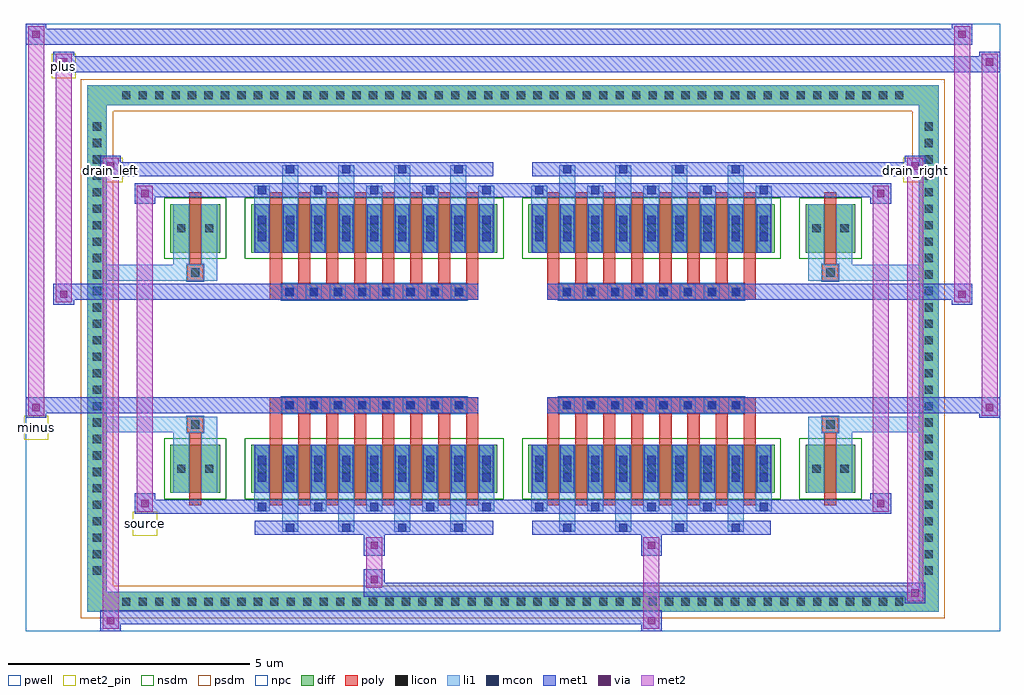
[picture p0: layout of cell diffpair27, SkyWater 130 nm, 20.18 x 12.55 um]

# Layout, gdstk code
import gdstk
lib = gdstk.Library(unit=1e-6, precision=5e-09)
def R(c, l, rs):  # rectangles x0, y0, x1, y1
    for r in rs: c.add(gdstk.rectangle(r[:2], r[2:], *l))
def A(c, l, x, y, w, h, nx, ny, dx, dy):  # array of equal rectangles
    R(c, l, [(x+i*dx, y+j*dy, x+i*dx+w, y+j*dy+h) for i in range(nx) for j in range(ny)])
def P(c, l, *ps):  # polygons
    for p in ps: c.add(gdstk.Polygon(p, *l))
pwell = (64, 44)
diff = (65, 20)
poly = (66, 20)
licon = (66, 44)
li1 = (67, 20)
mcon = (67, 44)
met1 = (68, 20)
via = (68, 44)
met2_pin = (69, 16)
met2 = (69, 20)
nsdm = (93, 44)
psdm = (94, 20)
npc = (95, 20)

diffpair27 = lib.new_cell('diffpair27')
R(diffpair27, pwell, [(-10.07,-5.84,10.07,6.71), (-7.39,-4.03,-0.01,-0.805), (0.01,-4.03,7.39,-0.805), (-7.39,0.805,-0.01,4.03), (0.01,0.805,7.39,4.03)])
A(diffpair27, diff, -8.195, -5.44, 0.41, 0.41, 48, 2, 0.34, 10.47)
A(diffpair27, diff, -8.8, -4.795, 0.41, 0.41, 1, 28, 0, 0.34)
A(diffpair27, diff, 8.39, -4.795, 0.41, 0.41, 1, 28, 0, 0.34)
R(diffpair27, diff, [(-8.195,-5.44,8.195,-5.03), (-8.8,-4.795,-8.39,4.795), (8.39,-4.795,8.8,4.795), (-7.08,-2.985,-6.05,-1.985), (-5.41,-2.985,-0.32,-1.985), (0.32,-2.985,5.41,-1.985), (6.05,-2.985,7.08,-1.985), (-7.08,1.985,-6.05,2.985), (-5.41,1.985,-0.32,2.985), (0.32,1.985,5.41,2.985), (6.05,1.985,7.08,2.985), (-8.195,5.03,8.195,5.44)])
P(diffpair27, diff, [(8.8,5.44),(-8.8,5.44),(-8.8,-5.03),(-8.39,-5.03),(-8.39,5.03),(8.39,5.03),(8.39,-5.03),(-8.39,-5.03),(-8.8,-5.03),(-8.8,-5.44),(8.8,-5.44)])
A(diffpair27, poly, -5.02, -3.235, 0.25, 1.5, 8, 2, 0.58, 4.97)
A(diffpair27, poly, 0.71, -3.235, 0.25, 1.5, 8, 2, 0.58, 4.97)
A(diffpair27, poly, -5.02, -1.735, 0.25, 0.4, 8, 2, 0.58, 3.07)
A(diffpair27, poly, 0.71, -1.735, 0.25, 0.4, 8, 2, 0.58, 3.07)
A(diffpair27, poly, -4.78, -1.335, 0.33, 0.33, 8, 2, 0.5, 2.34)
A(diffpair27, poly, 0.95, -1.335, 0.33, 0.33, 8, 2, 0.5, 2.34)
R(diffpair27, poly, [(-6.69,-3.235,-6.44,-1.735), (6.44,-3.235,6.69,-1.735), (-6.73,-1.735,-6.4,-1.405), (-6.73,-1.735,-6.4,-1.405), (6.4,-1.735,6.73,-1.405), (6.4,-1.735,6.73,-1.405), (-5.02,-1.335,-0.71,-1.005), (0.71,-1.335,5.02,-1.005), (-5.02,1.005,-0.71,1.335), (0.71,1.005,5.02,1.335), (-6.73,1.405,-6.4,1.735), (-6.73,1.405,-6.4,1.735), (6.4,1.405,6.73,1.735), (6.4,1.405,6.73,1.735), (-6.69,1.735,-6.44,3.235), (6.44,1.735,6.69,3.235)])
A(diffpair27, licon, -8.075, -5.32, 0.17, 0.17, 48, 2, 0.34, 10.47)
A(diffpair27, licon, -8.68, -4.675, 0.17, 0.17, 1, 28, 0, 0.34)
A(diffpair27, licon, 8.51, -4.675, 0.17, 0.17, 1, 28, 0, 0.34)
A(diffpair27, licon, -5.27, -2.57, 0.17, 0.17, 9, 2, 0.58, 4.97)
A(diffpair27, licon, 0.46, -2.57, 0.17, 0.17, 9, 2, 0.58, 4.97)
A(diffpair27, licon, -4.7, -1.255, 0.17, 0.17, 8, 2, 0.5, 2.34)
A(diffpair27, licon, 1.03, -1.255, 0.17, 0.17, 8, 2, 0.5, 2.34)
R(diffpair27, licon, [(-6.94,-2.57,-6.77,-2.4), (-6.36,-2.57,-6.19,-2.4), (6.19,-2.57,6.36,-2.4), (6.77,-2.57,6.94,-2.4), (-6.65,-1.655,-6.48,-1.485), (6.48,-1.655,6.65,-1.485), (-6.65,1.485,-6.48,1.655), (6.48,1.485,6.65,1.655), (-6.94,2.4,-6.77,2.57), (-6.36,2.4,-6.19,2.57), (6.19,2.4,6.36,2.57), (6.77,2.4,6.94,2.57)])
A(diffpair27, li1, -8.155, -5.4, 0.33, 0.33, 48, 2, 0.34, 10.47)
A(diffpair27, li1, -8.76, -4.755, 0.33, 0.33, 1, 28, 0, 0.34)
A(diffpair27, li1, 8.43, -4.755, 0.33, 0.33, 1, 28, 0, 0.34)
A(diffpair27, li1, -4.77, -3.79, 0.33, 0.805, 4, 2, 1.16, 6.775)
A(diffpair27, li1, -4.69, -3.79, 0.17, 0.17, 4, 2, 1.16, 7.41)
A(diffpair27, li1, 0.96, -3.79, 0.33, 0.805, 4, 2, 1.16, 6.775)
A(diffpair27, li1, 1.04, -3.79, 0.17, 0.17, 4, 2, 1.16, 7.41)
A(diffpair27, li1, -5.35, -3.36, 0.33, 0.375, 5, 2, 1.16, 6.345)
A(diffpair27, li1, -5.27, -3.36, 0.17, 0.17, 5, 2, 1.16, 6.55)
A(diffpair27, li1, 0.38, -3.36, 0.33, 0.375, 5, 2, 1.16, 6.345)
A(diffpair27, li1, 0.46, -3.36, 0.17, 0.17, 5, 2, 1.16, 6.55)
A(diffpair27, li1, -5.35, -2.985, 0.33, 1, 9, 2, 0.58, 4.97)
A(diffpair27, li1, 0.38, -2.985, 0.33, 1, 9, 2, 0.58, 4.97)
A(diffpair27, li1, -5.27, -2.75, 0.17, 0.17, 9, 2, 0.58, 0.36)
A(diffpair27, li1, -5.27, -2.75, 0.17, 0.53, 9, 2, 0.58, 4.97)
A(diffpair27, li1, 0.46, -2.75, 0.17, 0.17, 9, 2, 0.58, 0.36)
A(diffpair27, li1, 0.46, -2.75, 0.17, 0.53, 9, 2, 0.58, 4.97)
A(diffpair27, li1, -5.35, -2.65, 0.33, 0.33, 9, 2, 0.58, 4.97)
A(diffpair27, li1, 0.38, -2.65, 0.33, 0.33, 9, 2, 0.58, 4.97)
A(diffpair27, li1, -4.78, -1.335, 0.33, 0.33, 8, 2, 0.5, 2.34)
A(diffpair27, li1, 0.95, -1.335, 0.33, 0.33, 8, 2, 0.5, 2.34)
A(diffpair27, li1, -5.27, 2.22, 0.17, 0.17, 9, 2, 0.58, 0.36)
A(diffpair27, li1, 0.46, 2.22, 0.17, 0.17, 9, 2, 0.58, 0.36)
R(diffpair27, li1, [(-8.8,-5.44,-8.39,-5.03), (-8.8,-5.44,-8.39,-5.03), (-8.39,-5.44,8.39,-5.03), (8.39,-5.44,8.8,-5.03), (8.39,-5.44,8.8,-5.03), (-8.8,-5.03,-8.39,5.03), (8.39,-5.03,8.8,5.03), (-7.02,-2.985,-6.69,-1.985), (-6.44,-2.985,-6.11,-1.985), (6.11,-2.985,6.44,-1.985), (6.69,-2.985,7.02,-1.985), (-7.02,-2.65,-6.69,-2.32), (-6.44,-2.65,-6.11,-2.32), (6.11,-2.65,6.44,-2.32), (6.69,-2.65,7.02,-2.32), (-7.02,-1.985,-6.69,-1.405), (-6.44,-1.985,-6.11,-1.405), (6.11,-1.985,6.44,-1.405), (6.69,-1.985,7.02,-1.405), (-8.8,-1.735,-6.73,-1.405), (-7.02,-1.735,-6.73,-1.405), (-6.73,-1.735,-6.4,-1.405), (-6.4,-1.735,-6.11,-1.405), (6.11,-1.735,6.4,-1.405), (6.4,-1.735,6.73,-1.405), (6.4,-1.735,8.8,-1.405), (6.73,-1.735,7.02,-1.405), (-8.8,1.405,-6.73,1.735), (-7.02,1.405,-6.73,1.735), (-7.02,1.405,-6.69,1.985), (-6.73,1.405,-6.4,1.735), (-6.44,1.405,-6.11,1.985), (-6.4,1.405,-6.11,1.735), (6.11,1.405,6.4,1.735), (6.11,1.405,6.44,1.985), (6.4,1.405,6.73,1.735), (6.4,1.405,8.8,1.735), (6.69,1.405,7.02,1.985), (6.73,1.405,7.02,1.735), (-7.02,1.985,-6.69,2.985), (-6.44,1.985,-6.11,2.985), (6.11,1.985,6.44,2.985), (6.69,1.985,7.02,2.985), (-7.02,2.32,-6.69,2.65), (-6.44,2.32,-6.11,2.65), (6.11,2.32,6.44,2.65), (6.69,2.32,7.02,2.65), (-8.8,5.03,-8.39,5.44), (-8.8,5.03,-8.39,5.44), (-8.39,5.03,8.39,5.44), (8.39,5.03,8.8,5.44), (8.39,5.03,8.8,5.44)])
A(diffpair27, mcon, -4.69, -3.79, 0.17, 0.17, 4, 2, 1.16, 7.41)
A(diffpair27, mcon, 1.04, -3.79, 0.17, 0.17, 4, 2, 1.16, 7.41)
A(diffpair27, mcon, -5.27, -3.36, 0.17, 0.17, 5, 2, 1.16, 6.55)
A(diffpair27, mcon, 0.46, -3.36, 0.17, 0.17, 5, 2, 1.16, 6.55)
A(diffpair27, mcon, -5.27, -2.75, 0.17, 0.17, 9, 2, 0.58, 0.36)
A(diffpair27, mcon, 0.46, -2.75, 0.17, 0.17, 9, 2, 0.58, 0.36)
A(diffpair27, mcon, -4.7, -1.255, 0.17, 0.17, 8, 2, 0.5, 2.34)
A(diffpair27, mcon, 1.03, -1.255, 0.17, 0.17, 8, 2, 0.5, 2.34)
A(diffpair27, mcon, -5.27, 2.22, 0.17, 0.17, 9, 2, 0.58, 0.36)
A(diffpair27, mcon, 0.46, 2.22, 0.17, 0.17, 9, 2, 0.58, 0.36)
A(diffpair27, met1, -4.75, -3.85, 0.29, 0.29, 4, 2, 1.16, 7.41)
A(diffpair27, met1, 0.98, -3.85, 0.29, 0.29, 4, 2, 1.16, 7.41)
A(diffpair27, met1, -5.33, -3.42, 0.29, 0.29, 5, 2, 1.16, 6.55)
A(diffpair27, met1, 0.4, -3.42, 0.29, 0.29, 5, 2, 1.16, 6.55)
A(diffpair27, met1, -5.33, -2.985, 0.29, 1, 9, 2, 0.58, 4.97)
A(diffpair27, met1, 0.4, -2.985, 0.29, 1, 9, 2, 0.58, 4.97)
A(diffpair27, met1, -5.33, -2.81, 0.29, 0.29, 9, 2, 0.58, 0.36)
A(diffpair27, met1, 0.4, -2.81, 0.29, 0.29, 9, 2, 0.58, 0.36)
A(diffpair27, met1, -4.76, -1.315, 0.29, 0.29, 8, 2, 0.5, 2.34)
A(diffpair27, met1, 0.97, -1.315, 0.29, 0.29, 8, 2, 0.5, 2.34)
A(diffpair27, met1, -5.33, 2.16, 0.29, 0.29, 9, 2, 0.58, 0.36)
A(diffpair27, met1, 0.4, 2.16, 0.29, 0.29, 9, 2, 0.58, 0.36)
R(diffpair27, met1, [(-8.53,-5.84,-8.1,-5.41), (2.65,-5.84,3.08,-5.41), (-8.53,-5.7,3.08,-5.41), (8.1,-5.27,8.53,-4.84), (-3.08,-5.13,8.53,-4.84), (-3.08,-4.99,-2.65,-4.56), (-3.08,-4.28,-2.65,-3.85), (2.65,-4.28,3.08,-3.85), (-5.33,-3.85,-0.4,-3.56), (0.4,-3.85,5.33,-3.56), (-7.82,-3.42,-7.39,-2.99), (-7.82,-3.42,-5.33,-3.13), (-5.33,-3.42,-0.4,-3.13), (-0.4,-3.42,0.4,-3.13), (0.4,-3.42,5.33,-3.13), (5.33,-3.42,7.82,-3.13), (7.39,-3.42,7.82,-2.99), (-10.07,-1.435,-9.64,-1.005), (9.64,-1.435,10.07,-1.005), (-10.07,-1.335,-0.71,-1.005), (-5.02,-1.335,-0.71,-1.005), (0.71,-1.335,5.02,-1.005), (0.71,-1.335,10.07,-1.005), (-9.5,0.905,-9.07,1.335), (9.07,0.905,9.5,1.335), (-9.5,1.005,-5.02,1.335), (-5.02,1.005,-0.71,1.335), (0.71,1.005,5.02,1.335), (5.02,1.005,9.5,1.335), (-7.82,2.99,-7.39,3.42), (7.39,2.99,7.82,3.42), (-7.82,3.13,-5.33,3.42), (-5.33,3.13,-0.4,3.42), (-0.4,3.13,0.4,3.42), (0.4,3.13,5.33,3.42), (5.33,3.13,7.82,3.42), (-8.53,3.56,-8.1,3.99), (-8.53,3.56,-5.33,3.85), (-5.33,3.56,-0.4,3.85), (0.4,3.56,5.33,3.85), (5.33,3.56,8.53,3.85), (8.1,3.56,8.53,3.99), (-9.5,5.71,-9.07,6.14), (-9.5,5.71,-7.39,6.04), (-7.39,5.71,7.39,6.04), (7.39,5.71,10.07,6.04), (9.64,5.71,10.07,6.14), (-10.07,6.28,-9.64,6.71), (-10.07,6.28,-7.39,6.61), (-7.39,6.28,7.39,6.61), (7.39,6.28,9.5,6.61), (9.07,6.28,9.5,6.71)])
R(diffpair27, via, [(-8.39,-5.7,-8.24,-5.55), (2.79,-5.7,2.94,-5.55), (8.24,-5.13,8.39,-4.98), (-2.94,-4.85,-2.79,-4.7), (-2.94,-4.14,-2.79,-3.99), (2.79,-4.14,2.94,-3.99), (-7.68,-3.28,-7.53,-3.13), (7.53,-3.28,7.68,-3.13), (-9.93,-1.295,-9.78,-1.145), (9.78,-1.295,9.93,-1.145), (-9.36,1.045,-9.21,1.195), (9.21,1.045,9.36,1.195), (-7.68,3.13,-7.53,3.28), (7.53,3.13,7.68,3.28), (-8.39,3.7,-8.24,3.85), (8.24,3.7,8.39,3.85), (-9.36,5.85,-9.21,6), (9.78,5.85,9.93,6), (-9.93,6.42,-9.78,6.57), (9.21,6.42,9.36,6.57)])
R(diffpair27, met2_pin, [(-7.855,-3.87,-7.355,-3.37), (-10.105,-1.885,-9.605,-1.385), (-8.565,3.44,-8.065,3.94), (8.065,3.44,8.565,3.94), (-9.535,5.59,-9.035,6.09)])
R(diffpair27, met2, [(-8.48,-5.79,-8.15,-5.46), (-8.48,-5.79,-8.15,3.94), (2.7,-5.79,3.03,-5.46), (2.7,-5.46,3.03,-4.23), (8.15,-5.22,8.48,-4.89), (8.15,-5.22,8.48,3.94), (-3.03,-4.94,-2.7,-4.61), (-3.03,-4.61,-2.7,-4.23), (-3.03,-4.23,-2.7,-3.9), (2.7,-4.23,3.03,-3.9), (-7.77,-3.37,-7.44,-3.04), (-7.77,-3.37,-7.44,3.37), (7.44,-3.37,7.77,-3.04), (7.44,-3.37,7.77,3.37), (-10.02,-1.385,-9.69,-1.055), (-10.02,-1.385,-9.69,6.66), (9.69,-1.385,10.02,-1.055), (9.69,-1.385,10.02,6.09), (-9.45,0.955,-9.12,1.285), (-9.45,0.955,-9.12,6.09), (9.12,0.955,9.45,1.285), (9.12,0.955,9.45,6.66), (-7.77,3.04,-7.44,3.37), (7.44,3.04,7.77,3.37), (-8.48,3.61,-8.15,3.94), (8.15,3.61,8.48,3.94), (-9.45,5.76,-9.12,6.09), (9.69,5.76,10.02,6.09), (-10.02,6.33,-9.69,6.66), (9.12,6.33,9.45,6.66)])
P(diffpair27, met2, [(10.02,-1.385),(10.02,-1.385),(10.02,-1.055),(10.02,-1.055)],
  [(10.02,5.76),(10.02,5.76),(10.02,6.09),(10.02,6.09)],
  [(-9.69,-1.385),(-9.69,-1.385),(-9.69,-1.055),(-9.69,-1.055)],
  [(-9.69,6.33),(-9.69,6.33),(-9.69,6.66),(-9.69,6.66)],
  [(9.45,0.955),(9.45,0.955),(9.45,1.285),(9.45,1.285)],
  [(9.45,6.33),(9.45,6.33),(9.45,6.66),(9.45,6.66)],
  [(-9.12,0.955),(-9.12,0.955),(-9.12,1.285),(-9.12,1.285)],
  [(-9.12,5.76),(-9.12,5.76),(-9.12,6.09),(-9.12,6.09)],
  [(-8.15,-5.79),(-8.15,-5.79),(-8.15,-5.46),(-8.15,-5.46)],
  [(-8.15,3.61),(-8.15,3.61),(-8.15,3.94),(-8.15,3.94)],
  [(8.48,-5.22),(8.48,-5.22),(8.48,-4.89),(8.48,-4.89)],
  [(8.48,3.61),(8.48,3.61),(8.48,3.94),(8.48,3.94)],
  [(-7.44,-3.37),(-7.44,-3.37),(-7.44,-3.04),(-7.44,-3.04)],
  [(-7.44,3.04),(-7.44,3.04),(-7.44,3.37),(-7.44,3.37)],
  [(7.77,-3.37),(7.77,-3.37),(7.77,-3.04),(7.77,-3.04)],
  [(7.77,3.04),(7.77,3.04),(7.77,3.37),(7.77,3.37)])
R(diffpair27, nsdm, [(-7.21,-3.115,-5.92,-1.855), (-5.54,-3.115,-0.19,-1.855), (0.19,-3.115,5.54,-1.855), (5.92,-3.115,7.21,-1.855), (-7.21,1.855,-5.92,3.115), (-5.54,1.855,-0.19,3.115), (0.19,1.855,5.54,3.115), (5.92,1.855,7.21,3.115)])
P(diffpair27, psdm, [(8.93,5.57),(-8.93,5.57),(-8.93,-4.9),(-8.26,-4.9),(-8.26,4.9),(8.26,4.9),(8.26,-4.9),(-8.26,-4.9),(-8.93,-4.9),(-8.93,-5.57),(8.93,-5.57)])
A(diffpair27, npc, -4.8, -1.355, 0.37, 0.37, 8, 2, 0.5, 2.34)
A(diffpair27, npc, 0.93, -1.355, 0.37, 0.37, 8, 2, 0.5, 2.34)
R(diffpair27, npc, [(-6.75,-1.755,-6.38,-1.385), (6.38,-1.755,6.75,-1.385), (-4.8,-1.355,-3.93,-0.985), (-4.8,-1.355,-3.93,-0.985), (-4.3,-1.355,-3.43,-0.985), (-4.3,-1.355,-3.43,-0.985), (-3.8,-1.355,-2.93,-0.985), (-3.8,-1.355,-2.93,-0.985), (-3.3,-1.355,-2.43,-0.985), (-3.3,-1.355,-2.43,-0.985), (-2.8,-1.355,-1.93,-0.985), (-2.8,-1.355,-1.93,-0.985), (-2.3,-1.355,-1.43,-0.985), (-2.3,-1.355,-1.43,-0.985), (-1.8,-1.355,-0.93,-0.985), (-1.8,-1.355,-0.93,-0.985), (0.93,-1.355,1.8,-0.985), (0.93,-1.355,1.8,-0.985), (1.43,-1.355,2.3,-0.985), (1.43,-1.355,2.3,-0.985), (1.93,-1.355,2.8,-0.985), (1.93,-1.355,2.8,-0.985), (2.43,-1.355,3.3,-0.985), (2.43,-1.355,3.3,-0.985), (2.93,-1.355,3.8,-0.985), (2.93,-1.355,3.8,-0.985), (3.43,-1.355,4.3,-0.985), (3.43,-1.355,4.3,-0.985), (3.93,-1.355,4.8,-0.985), (3.93,-1.355,4.8,-0.985), (-4.8,0.985,-3.93,1.355), (-4.8,0.985,-3.93,1.355), (-4.3,0.985,-3.43,1.355), (-4.3,0.985,-3.43,1.355), (-3.8,0.985,-2.93,1.355), (-3.8,0.985,-2.93,1.355), (-3.3,0.985,-2.43,1.355), (-3.3,0.985,-2.43,1.355), (-2.8,0.985,-1.93,1.355), (-2.8,0.985,-1.93,1.355), (-2.3,0.985,-1.43,1.355), (-2.3,0.985,-1.43,1.355), (-1.8,0.985,-0.93,1.355), (-1.8,0.985,-0.93,1.355), (0.93,0.985,1.8,1.355), (0.93,0.985,1.8,1.355), (1.43,0.985,2.3,1.355), (1.43,0.985,2.3,1.355), (1.93,0.985,2.8,1.355), (1.93,0.985,2.8,1.355), (2.43,0.985,3.3,1.355), (2.43,0.985,3.3,1.355), (2.93,0.985,3.8,1.355), (2.93,0.985,3.8,1.355), (3.43,0.985,4.3,1.355), (3.43,0.985,4.3,1.355), (3.93,0.985,4.8,1.355), (3.93,0.985,4.8,1.355), (-6.75,1.385,-6.38,1.755), (6.38,1.385,6.75,1.755)])
diffpair27.add(gdstk.Label('minus', (-9.855,-1.635), layer=69, texttype=5))
diffpair27.add(gdstk.Label('drain_right', (8.315,3.69), layer=69, texttype=5))
diffpair27.add(gdstk.Label('drain_left', (-8.315,3.69), layer=69, texttype=5))
diffpair27.add(gdstk.Label('source', (-7.605,-3.62), layer=69, texttype=5))
diffpair27.add(gdstk.Label('plus', (-9.285,5.84), layer=69, texttype=5))

lib.write_gds('diffpair27.gds')
